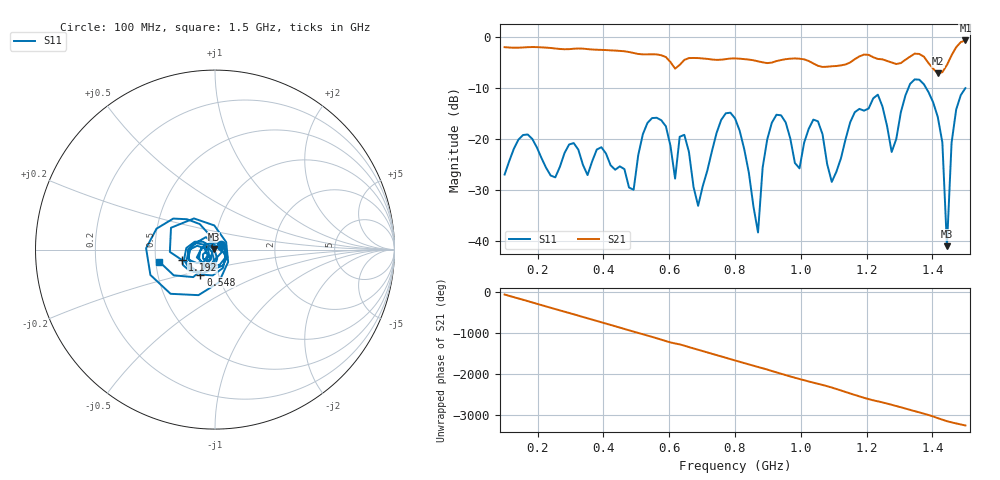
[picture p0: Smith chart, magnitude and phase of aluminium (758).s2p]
! NanoVNA-App
! Date: 2025-09-25 15:01:11
! Start: 100MHz Stop: 1,5GHz Points: 101
! S-Parameter data: F S11 S21 S12 S22
# Hz S RI R 50
!  Frequency  S11_Real  S11_Imag  S21_Real  S21_Imag  S12_Real  S12_Imag  S22_Real  S22_Imag
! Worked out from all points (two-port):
!   101 points, 100 MHz to 1.5 GHz, reference 50 ohm
!   highest |S21| = -0.60 dB at 1.5 GHz (marker M1); lowest = -7.1 dB at 1.416 GHz (marker M2)
!   |S21| within 3 dB of the highest: start of sweep to 579.7 MHz; 1.457 GHz to end of sweep (the widest 2 of 4)
!   lowest |S11| = -41.0 dB at 1.444 GHz (marker M3), VSWR 1.02, Z = 49.2 + j0.3 ohm
!   |S11| at or under -10 dB: start of sweep to 1.327 GHz; 1.381 GHz to 1.5 GHz (118.7 MHz wide, 8.24 % of centre)
!   S12 and S22 are empty: the file has one direction only
!   S11 on the Smith chart (normalised r, x): 100 MHz: 1.07, +0.06; 548 MHz: 0.82, -0.23; 1.192 GHz: 0.69, -0.08; 1.5 GHz: 0.52, -0.08
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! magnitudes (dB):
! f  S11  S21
! 100 MHz  -27.0  -1.9
! 338 MHz  -25.0  -2.2
! 492 MHz  -30.0  -3.1
! 548 MHz  -15.9  -3.3
! 576 MHz  -16.3  -3.5
! 618 MHz  -27.8  -6.1
! 646 MHz  -19.2  -4.4
! 688 MHz  -33.1  -4.1
! 800 MHz  -15.9  -4.1
! 870 MHz  -38.3  -4.7
! 912 MHz  -16.8  -5.0
! 996 MHz  -25.7  -4.2
! 1.038 GHz  -16.2  -5.1
! 1.094 GHz  -28.4  -5.7
! 1.192 GHz  -14.4  -3.4
! 1.276 GHz  -22.5  -4.9
! 1.346 GHz  -8.3  -3.2
! 1.416 GHz  -15.6  -7.1
! 1.43 GHz  -20.6  -6.8
! 1.444 GHz  -41.0  -5.4
! 1.458 GHz  -20.7  -3.5
! 1.5 GHz  -10.0  -0.6
